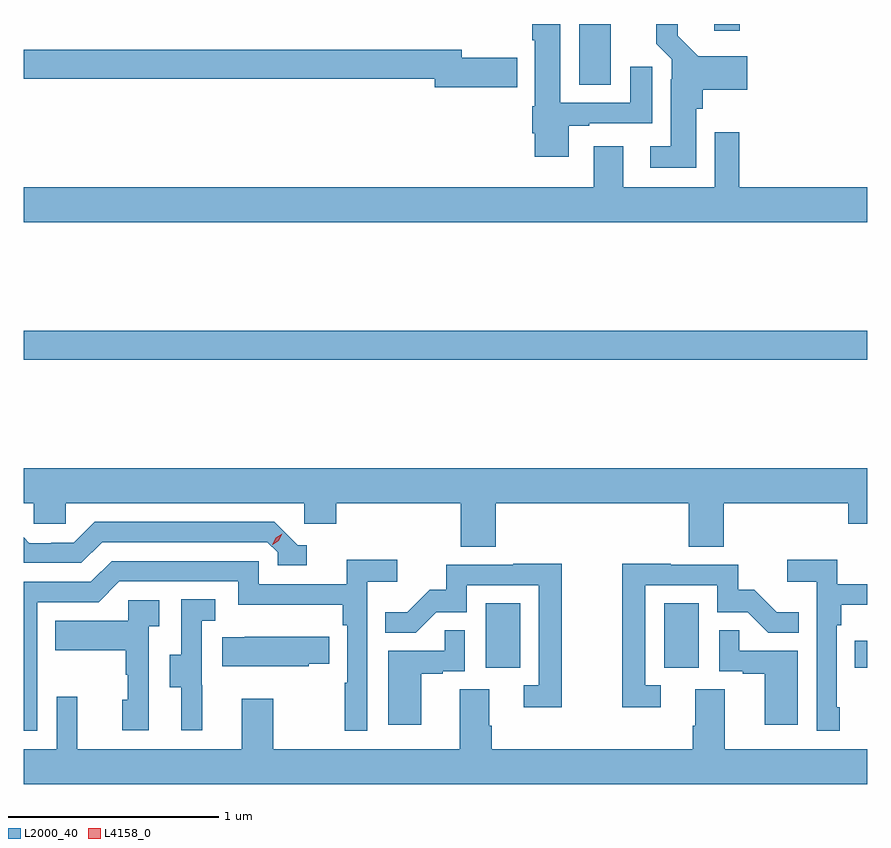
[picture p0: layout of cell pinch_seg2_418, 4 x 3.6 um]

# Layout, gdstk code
import gdstk
lib = gdstk.Library(unit=1e-6, precision=1e-09)
def R(c, l, rs):  # rectangles x0, y0, x1, y1
    for r in rs: c.add(gdstk.rectangle(r[:2], r[2:], *l))
def P(c, l, *ps):  # polygons
    for p in ps: c.add(gdstk.Polygon(p, *l))
L2000_40 = (2000, 40)
L4158_0 = (4158, 0)

pinch_seg2_418 = lib.new_cell('pinch_seg2_418')
R(pinch_seg2_418, L2000_40, [(950.798,622.878,950.962,623.185), (951.644,622.878,951.808,623.185), (952.549,622.879,952.608,623.008), (948.608,624.34,952.608,624.476), (951.242,625.642,951.391,625.931), (951.881,625.899,952.004,625.931)])
P(pinch_seg2_418, L2000_40, [(951.193,625.449),(951.289,625.449),(951.289,625.461),(951.589,625.461),(951.589,625.729),(951.485,625.729),(951.485,625.557),(951.151,625.557),(951.151,625.931),(951.02,625.931),(951.02,625.855),(951.032,625.855),(951.032,625.541),(951.02,625.541),(951.02,625.414),(951.032,625.414),(951.032,625.302),(951.193,625.302)],
  [(951.796,625.53),(951.827,625.53),(951.827,625.619),(952.039,625.619),(952.039,625.777),(951.807,625.777),(951.709,625.876),(951.709,625.931),(951.607,625.931),(951.607,625.838),(951.681,625.764),(951.681,625.67),(951.677,625.67),(951.677,625.351),(951.579,625.351),(951.579,625.25),(951.796,625.25)],
  [(950.947,625.772),(950.686,625.772),(950.686,625.808),(948.608,625.808),(948.608,625.672),(950.558,625.672),(950.558,625.63),(950.947,625.63)],
  [(952.608,625.156),(952.001,625.156),(952.001,625.417),(951.885,625.417),(951.885,625.156),(951.451,625.156),(951.451,625.351),(951.311,625.351),(951.311,625.156),(948.608,625.156),(948.608,624.992),(952.608,624.992)],
  [(950.846,623.66),(951.761,623.66),(951.761,623.452),(951.926,623.452),(951.926,623.66),(952.517,623.66),(952.517,623.562),(952.608,623.562),(952.608,623.824),(948.608,623.824),(948.608,623.66),(948.657,623.66),(948.657,623.562),(948.807,623.562),(948.807,623.66),(949.938,623.66),(949.938,623.562),(950.09,623.562),(950.09,623.66),(950.681,623.66),(950.681,623.452),(950.846,623.452)],
  [(949.951,623.46),(949.908,623.46),(949.797,623.571),(948.944,623.571),(948.845,623.472),(948.738,623.472),(948.738,623.469),(948.635,623.469),(948.608,623.497),(948.608,623.376),(948.882,623.376),(948.981,623.475),(949.764,623.475),(949.812,623.427),(949.812,623.364),(949.951,623.364)],
  [(948.672,623.19),(948.963,623.19),(949.062,623.289),(949.626,623.289),(949.626,623.177),(950.122,623.177),(950.122,623.081),(950.142,623.081),(950.142,622.808),(950.13,622.808),(950.13,622.581),(950.238,622.581),(950.238,623.288),(950.38,623.288),(950.38,623.39),(950.141,623.39),(950.141,623.274),(949.722,623.274),(949.722,623.385),(949.025,623.385),(948.926,623.286),(948.608,623.286),(948.608,622.581),(948.672,622.581)],
  [(952.477,622.693),(952.464,622.693),(952.464,623.081),(952.484,623.081),(952.484,623.177),(952.608,623.177),(952.608,623.274),(952.466,623.274),(952.466,623.39),(952.227,623.39),(952.227,623.288),(952.368,623.288),(952.368,622.581),(952.477,622.581)],
  [(951.16,623.372),(950.929,623.372),(950.929,623.367),(950.611,623.367),(950.611,623.25),(950.534,623.25),(950.427,623.143),(950.323,623.143),(950.323,623.044),(950.467,623.044),(950.565,623.142),(950.709,623.142),(950.709,623.271),(951.051,623.271),(951.051,622.797),(950.979,622.797),(950.979,622.692),(951.16,622.692)],
  [(951.628,622.797),(951.555,622.797),(951.555,623.271),(951.897,623.271),(951.897,623.142),(952.041,623.142),(952.139,623.044),(952.283,623.044),(952.283,623.143),(952.179,623.143),(952.072,623.25),(951.996,623.25),(951.996,623.367),(951.677,623.367),(951.677,623.372),(951.447,623.372),(951.447,622.692),(951.628,622.692)],
  [(949.454,622.797),(949.452,622.797),(949.452,623.101),(949.516,623.101),(949.516,623.204),(949.356,623.204),(949.356,622.941),(949.301,622.941),(949.301,622.786),(949.355,622.786),(949.355,622.584),(949.454,622.584)],
  [(949.2,623.075),(949.252,623.075),(949.252,623.199),(949.104,623.199),(949.104,623.101),(948.757,623.101),(948.757,622.961),(949.092,622.961),(949.092,622.847),(949.102,622.847),(949.102,622.728),(949.076,622.728),(949.076,622.584),(949.2,622.584)],
  [(950.494,622.851),(950.594,622.851),(950.594,622.863),(950.7,622.863),(950.7,623.057),(950.605,623.057),(950.605,622.959),(950.336,622.959),(950.336,622.608),(950.494,622.608)],
  [(952.279,622.959),(952.001,622.959),(952.001,623.057),(951.906,623.057),(951.906,622.863),(952.017,622.863),(952.017,622.851),(952.121,622.851),(952.121,622.608),(952.279,622.608)],
  [(949.959,622.897),(950.057,622.897),(950.057,623.026),(949.657,623.026),(949.657,623.023),(949.549,623.023),(949.549,622.886),(949.959,622.886)],
  [(952.608,622.492),(951.931,622.492),(951.931,622.778),(951.791,622.778),(951.791,622.604),(951.779,622.604),(951.779,622.492),(950.828,622.492),(950.828,622.604),(950.815,622.604),(950.815,622.778),(950.675,622.778),(950.675,622.492),(949.791,622.492),(949.791,622.732),(949.643,622.732),(949.643,622.492),(948.863,622.492),(948.863,622.741),(948.765,622.741),(948.765,622.492),(948.608,622.492),(948.608,622.328),(952.608,622.328)])
P(pinch_seg2_418, L4158_0, [(949.787,623.462),(949.787,623.462),(949.803,623.495),(949.834,623.514),(949.834,623.514),(949.834,623.514),(949.818,623.481),(949.788,623.462)])

lib.write_gds('pinch_seg2_418.gds')
